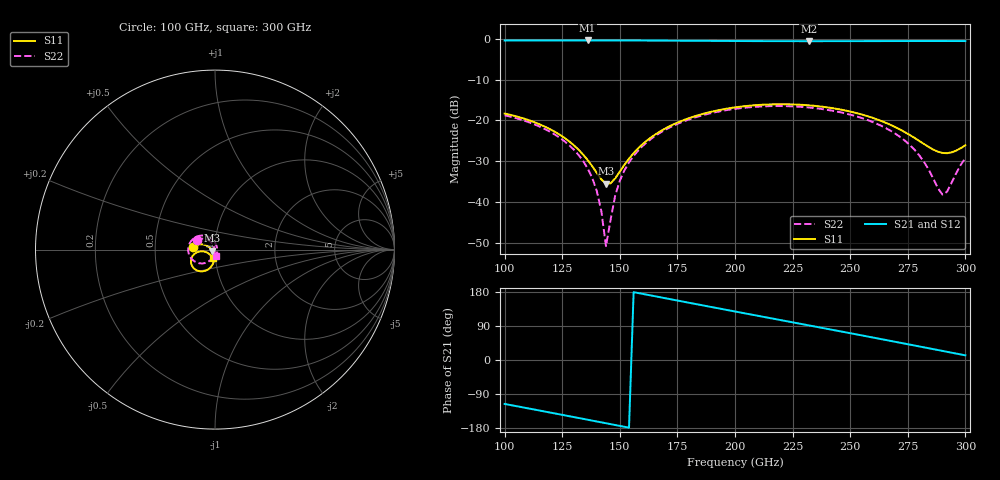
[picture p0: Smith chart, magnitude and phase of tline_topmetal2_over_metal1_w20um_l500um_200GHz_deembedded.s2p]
! Created with skrf 2.0.1 (http://scikit-rf.org).
# GHz S DB R 50.0
!freq dBS11 angS11 dBS21 angS21 dBS12 angS12 dBS22 angS22
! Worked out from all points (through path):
!   101 points, 100 GHz to 300 GHz, reference 50 ohm
!   highest |S21| = -0.41 dB at 136 GHz (marker M1); lowest = -0.6 dB at 232 GHz (marker M2)
!   group delay of S21, straight-line fit = 3.21 ps
!   lowest |S11| = -35.6 dB at 144 GHz (marker M3), VSWR 1.03, Z = 48.5 - j0.579 ohm
!   |S11| at or under -10 dB: start of sweep to end of sweep
!   |S22| runs from -50.9 to -16.5 dB; largest |S21 - S12| = 1.1e-14
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100  -18.35 174.3  -0.42 -115.9  -0.42 -115.9  -18.76 152.7
120  -22.26 157.8  -0.41 -139.0  -0.41 -139.0  -22.91 128.3
134  -28.36 156.3  -0.41 -155.2  -0.41 -155.2  -29.94 113.3
136  -29.72 158.9  -0.41 -157.6  -0.41 -157.6  -31.77 111.9
140  -32.91 171.1  -0.41 -162.2  -0.41 -162.2  -37.32 112.3
142  -34.51 -176.7  -0.41 -164.6  -0.41 -164.6  -42.35 119.1
144  -35.57 -159.0  -0.41 -166.9  -0.41 -166.9  -50.90 167.6
148  -34.26 -121.9  -0.41 -171.6  -0.41 -171.6  -38.46 -102.5
152  -30.94 -103.4  -0.42 -176.3  -0.42 -176.3  -32.30 -100.8
158  -26.87 -95.5  -0.43 176.7  -0.43 176.7  -27.41 -105.7
168  -22.56 -97.2  -0.45 165.1  -0.45 165.1  -22.89 -116.9
182  -19.11 -107.1  -0.49 148.8  -0.49 148.8  -19.42 -133.8
200  -16.84 -122.7  -0.54 128.0  -0.54 128.0  -17.20 -156.2
216  -16.09 -137.0  -0.57 109.7  -0.57 109.7  -16.52 -176.2
232  -16.33 -150.8  -0.59 91.4  -0.59 91.4  -16.86 163.4
234  -16.43 -152.5  -0.59 89.1  -0.59 89.1  -16.98 160.8
252  -18.13 -166.0  -0.57 68.4  -0.57 68.4  -18.93 136.9
268  -21.25 -172.9  -0.55 49.8  -0.55 49.8  -22.72 113.1
280  -25.08 -166.8  -0.54 35.8  -0.54 35.8  -28.62 88.2
290  -28.01 -139.2  -0.55 24.0  -0.55 24.0  -38.21 12.0
292  -28.08 -131.1  -0.55 21.7  -0.55 21.7  -37.56 -21.2
300  -26.13 -104.4  -0.56 12.3  -0.56 12.3  -29.21 -77.9
